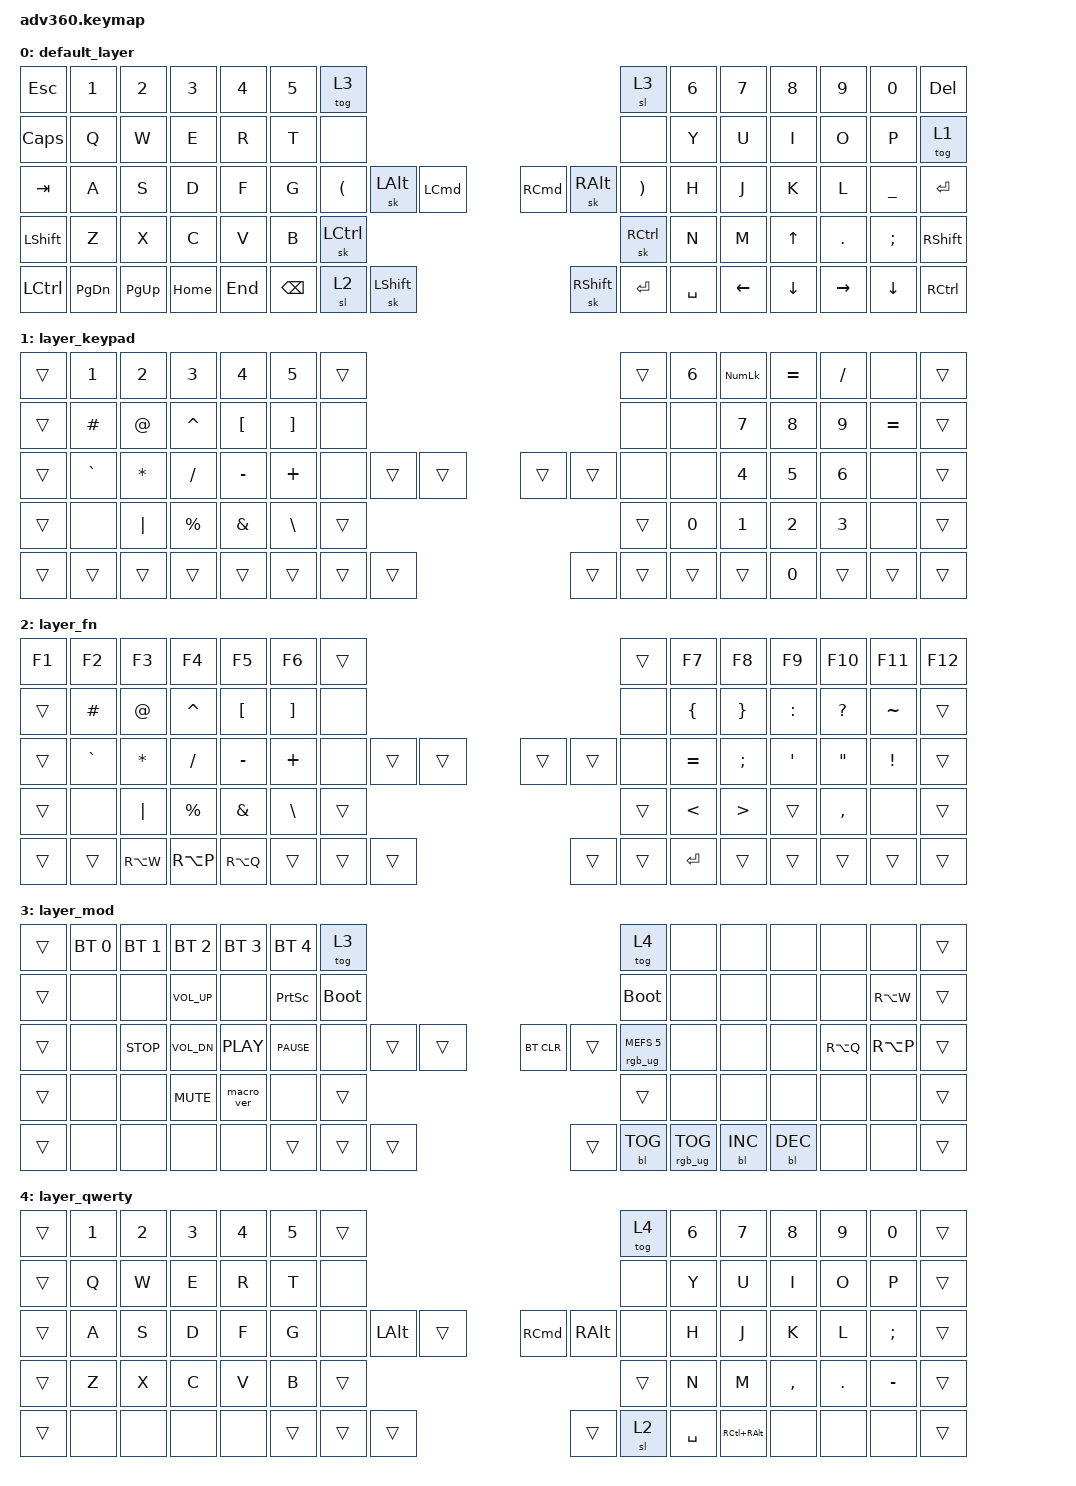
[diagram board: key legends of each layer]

/*
 * Copyright (c) 2020 The ZMK Contributors
 *
 * SPDX-License-Identifier: MIT
 */


/* THIS FILE WAS GENERATED!
 *
 * This file was generated automatically. You may or may not want to
 * edit it directly.
 */

#include <behaviors.dtsi>
#include <dt-bindings/zmk/keys.h>
#include <dt-bindings/zmk/bt.h>
#include <dt-bindings/zmk/rgb.h>
#include <dt-bindings/zmk/backlight.h>

/ {
  behaviors {
    #include "macros.dtsi"
    #include "version.dtsi"

    hm: homerow_mods {
        compatible = "zmk,behavior-hold-tap";
        label = "HOMEROW_MODS";
        #binding-cells = <2>;
        tapping-term-ms = <200>;
        quick_tap_ms = <175>;
        flavor = "tap-preferred";
        bindings = <&kp>, <&kp>;
    };
  };

    keymap {
        compatible = "zmk,keymap";


        default_layer {
            bindings = <
          &kp ESC     &kp N1     &kp N2    &kp N3   &kp N4  &kp N5                          &tog 3                                                                                                    &sl 3  &kp N6    &kp N7    &kp N8     &kp N9         &kp N0            &kp DEL
         &kp CAPS      &kp Q      &kp W     &kp E    &kp R   &kp T                           &none                                                                                                    &none   &kp Y     &kp U     &kp I      &kp O          &kp P             &tog 1
          &kp TAB      &kp A      &kp S     &kp D    &kp F   &kp G            &kp LEFT_PARENTHESIS  &sk LEFT_ALT  &kp LEFT_COMMAND                  &kp RIGHT_COMMAND  &sk RIGHT_ALT  &kp RIGHT_PARENTHESIS   &kp H     &kp J     &kp K      &kp L      &kp UNDER          &kp ENTER
        &kp LSHFT      &kp Z      &kp X     &kp C    &kp V   &kp B                                                &sk LEFT_CONTROL                  &sk RIGHT_CONTROL                                         &kp N     &kp M    &kp UP    &kp DOT  &kp SEMICOLON    &kp RIGHT_SHIFT
 &kp LEFT_CONTROL  &kp PG_DN  &kp PG_UP  &kp HOME  &kp END                           &kp BACKSPACE         &sl 2    &sk LEFT_SHIFT                    &sk RIGHT_SHIFT      &kp ENTER              &kp SPACE          &kp LEFT  &kp DOWN  &kp RIGHT       &kp DOWN  &kp RIGHT_CONTROL
            >;
        };

        layer_keypad {
            bindings = <
 &trans     &kp N1       &kp N2       &kp N3            &kp N4             &kp N5            &trans                                                  &trans  &kp N6    &kp KP_NUM  &kp EQUAL  &kp SLASH      &none  &trans
 &trans   &kp HASH  &kp AT_SIGN    &kp CARET  &kp LEFT_BRACKET  &kp RIGHT_BRACKET             &none                                                   &none   &none  &kp NUMBER_7     &kp N8     &kp N9  &kp EQUAL  &trans
 &trans  &kp GRAVE     &kp STAR    &kp SLASH         &kp MINUS           &kp PLUS             &none  &trans  &trans                  &trans  &trans   &none   &none        &kp N4     &kp N5     &kp N6      &none  &trans
 &trans      &none     &kp PIPE  &kp PERCENT     &kp AMPERSAND      &kp BACKSLASH                            &trans                  &trans                  &kp N0        &kp N1     &kp N2     &kp N3      &none  &trans
 &trans     &trans       &trans       &trans            &trans                               &trans  &trans  &trans                  &trans  &trans  &trans                &trans     &kp N0     &trans     &trans  &trans
            >;
        };

        layer_fn {
            bindings = <
 &kp F1     &kp F2     &kp F3       &kp F4            &kp F5             &kp F6            &trans                                                     &trans          &kp F7            &kp F8            &kp F9            &kp F10          &kp F11  &kp F12
 &trans   &kp HASH     &kp AT    &kp CARET  &kp LEFT_BRACKET  &kp RIGHT_BRACKET             &none                                                      &none  &kp LEFT_BRACE   &kp RIGHT_BRACE         &kp COLON       &kp QUESTION        &kp TILDE   &trans
 &trans  &kp GRAVE   &kp STAR    &kp SLASH         &kp MINUS           &kp PLUS             &none  &trans  &trans                  &trans  &trans      &none       &kp EQUAL     &kp SEMICOLON  &kp SINGLE_QUOTE  &kp DOUBLE_QUOTES  &kp EXCLAMATION   &trans
 &trans      &none   &kp PIPE  &kp PERCENT     &kp AMPERSAND      &kp BACKSLASH                            &trans                  &trans                             &kp LT  &kp GREATER_THAN            &trans          &kp COMMA            &none   &trans
 &trans     &trans  &kp RA(W)    &kp RA(P)         &kp RA(Q)                               &trans  &trans  &trans                  &trans  &trans  &kp ENTER                            &trans            &trans             &trans           &trans   &trans
            >;
        };

        layer_mod {
            bindings = <
 &trans  &bt BT_SEL 0  &bt BT_SEL 1  &bt BT_SEL 2  &bt BT_SEL 3     &bt BT_SEL 4                 &tog 3                                                                          &tog 4   &none       &none       &none      &none      &none  &trans
 &trans         &none         &none  &kp C_VOL_UP         &none  &kp PRINTSCREEN            &bootloader                                                                     &bootloader   &none       &none       &none      &none  &kp RA(W)  &trans
 &trans         &none    &kp C_STOP  &kp C_VOL_DN    &kp C_PLAY      &kp C_PAUSE                  &none  &trans  &trans                  &bt BT_CLR      &trans  &rgb_ug RGB_MEFS_CMD 5   &none       &none       &none  &kp RA(Q)  &kp RA(P)  &trans
 &trans         &none         &none    &kp C_MUTE    &macro_ver            &none                                 &trans                      &trans                                       &none       &none       &none      &none      &none  &trans
 &trans         &none         &none         &none         &none                                  &trans  &trans  &trans                      &trans  &bl BL_TOG         &rgb_ug RGB_TOG          &bl BL_INC  &bl BL_DEC      &none      &none  &trans
            >;
        };

        layer_qwerty {
            bindings = <
 &trans  &kp N1  &kp N2  &kp N3  &kp N4  &kp N5            &trans                                                                             &tog 4  &kp N6             &kp N7     &kp N8      &kp N9         &kp N0  &trans
 &trans   &kp Q   &kp W   &kp E   &kp R   &kp T             &none                                                                              &none   &kp Y              &kp U      &kp I       &kp O          &kp P  &trans
 &trans   &kp A   &kp S   &kp D   &kp F   &kp G             &none  &kp LEFT_ALT  &trans                  &kp RIGHT_COMMAND  &kp RIGHT_ALT      &none   &kp H              &kp J      &kp K       &kp L  &kp SEMICOLON  &trans
 &trans   &kp Z   &kp X   &kp C   &kp V   &kp B                                  &trans                             &trans                             &kp N              &kp M  &kp COMMA  &kp PERIOD      &kp MINUS  &trans
 &trans   &none   &none   &none   &none                    &trans        &trans  &trans                             &trans          &sl 2  &kp SPACE          &kp RC(RIGHT_ALT)      &none       &none          &none  &trans
            >;
        };

    };
};
